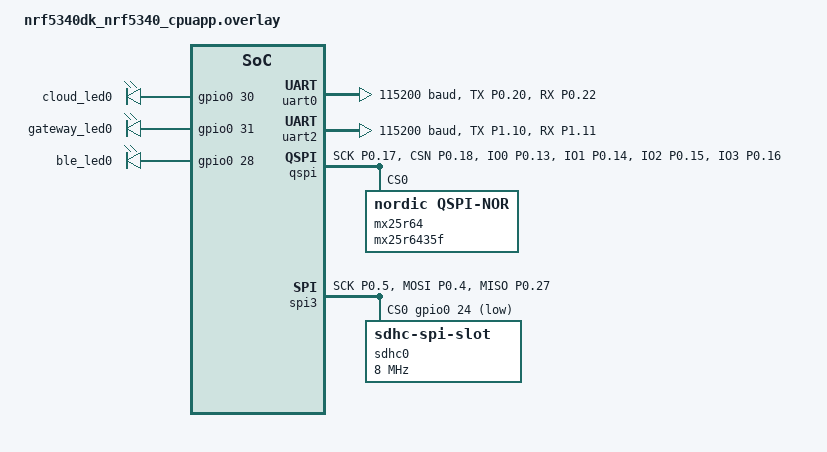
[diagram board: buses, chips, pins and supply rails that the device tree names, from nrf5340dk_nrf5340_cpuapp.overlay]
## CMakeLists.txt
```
# SPDX-License-Identifier: Apache-2.0

cmake_minimum_required(VERSION 3.20.0)

find_package(Zephyr REQUIRED HINTS $ENV{ZEPHYR_BASE})
project(nRF_AT_gateway_final)

target_sources(app PRIVATE src/main.c)
target_sources(app PRIVATE src/atcommand.c )
target_sources(app PRIVATE src/observer.c)
target_sources(app PRIVATE src/certs.c)
target_sources(app PRIVATE src/sdcard.c)
```

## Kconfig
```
menu "BASE_FILE"
config BLE_ADD
    string "BLE address"
    default "DE:AD:BE:AF:BA:64"

config BLE_RECEIVING_PAYLOAD_SIZE
	int "BLE Receiving payload Size"
	default 256

config CLOUD_UPLOAD_PAYLOAD_SIZE
	int "Cloud Upload payload Size"
	default 1280

config UPLOAD_INTERVAL
	int "Cloud Upload interval in seconds"
	default 10

config GATEWAY_ID
	int "Device Local ID"
	default 100

config MAX_FLASH_SIZE
	int "Maximum Flash Size in bytes"
	default 16777216	

config FLASH_SECTOR_SIZE
	int "Flash Sector Size in bytes"
	default 4096

config FLASH_WRITE_ADD
	int "This Address stores last write_index, it is static address and should not be changed"
	default 4096

config FLASH_READ_ADD
	int "This Address stores last read_index, it is static address and should not be changed"
	default 4104

config FLASH_DATA_START_ADD
	int "Starting address in the flash for data storage, it is static address and should not be changed"
	default 8192

config AWS_IOT_SAMPLE_JSON_MESSAGE_SIZE_MAX
	int "stores max json message length"
	default 8192

config AWS_IOT_BROKER_HOST_NAME_APP
	bool "AWS IoT sever hostname provided by application run-time"

config AWS_IOT_BROKER_HOST_NAME
	string "AWS IoT server hostname"
	depends on !AWS_IOT_BROKER_HOST_NAME_APP
endmenu

menu "Zephyr Kernel"
source "Kconfig.zephyr"
endmenu
```

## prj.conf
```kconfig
# --- UART & System Support ---
CONFIG_LOG=y
CONFIG_GPIO=y
CONFIG_UART_ASYNC_API=y
CONFIG_UART_INTERRUPT_DRIVEN=y
CONFIG_JSON_LIBRARY=y
CONFIG_CBPRINTF_FP_SUPPORT=y
CONFIG_LOG_PRINTK=y
CONFIG_PRINTK=y
CONFIG_SYSTEM_WORKQUEUE_STACK_SIZE=8192
CONFIG_MULTITHREADING=y 
CONFIG_FLASH=y

# --- Gateway & Payload Configurations (Synced with Kconfig) ---
CONFIG_GATEWAY_ID=20
CONFIG_BLE_RECEIVING_PAYLOAD_SIZE=256
CONFIG_CLOUD_UPLOAD_PAYLOAD_SIZE=1024 
CONFIG_UPLOAD_INTERVAL=10
CONFIG_BLE_ADD="CE:BD:BE:AF:BA:11"
CONFIG_AWS_IOT_SAMPLE_JSON_MESSAGE_SIZE_MAX=4096
CONFIG_AWS_IOT_BROKER_HOST_NAME="a1tgjydixa0qkm-ats.iot.us-east-1.amazonaws.com"

# --- Heap & Stacks ---
CONFIG_HEAP_MEM_POOL_SIZE=16384
CONFIG_MAIN_STACK_SIZE=32768

# --- Bluetooth Controller & Long Range (Coded PHY) ---
CONFIG_BT=y
CONFIG_BT_OBSERVER=y
CONFIG_BT_FILTER_ACCEPT_LIST=y
CONFIG_BT_EXT_ADV=y
CONFIG_BT_CTLR_ADV_EXT=y
CONFIG_BT_CTLR_PHY_CODED=y

# --- Bluetooth Scanning Buffers ---
CONFIG_BT_BUF_EVT_RX_COUNT=20
CONFIG_BT_PER_ADV_SYNC=y
CONFIG_BT_PER_ADV_SYNC_BUF_SIZE=256
CONFIG_BT_PER_ADV_SYNC_MAX=4
CONFIG_BT_EXT_SCAN_BUF_SIZE=1650
CONFIG_BT_CTLR_SCAN_DATA_LEN_MAX=1650

# --- C Library & File System ---
CONFIG_NEWLIB_LIBC=y
CONFIG_DISK_ACCESS=y
CONFIG_FILE_SYSTEM=y
CONFIG_FAT_FILESYSTEM_ELM=y

# Automatically format the SD card if it gets corrupted or is blank
CONFIG_FS_FATFS_MOUNT_MKFS=y

# Enable support for SD cards larger than 32GB (exFAT)
CONFIG_FS_FATFS_EXFAT=y

# --- SD Card Hardware Logic ---
CONFIG_SPI=y
CONFIG_SDHC=y
CONFIG_MMC_STACK=y
```

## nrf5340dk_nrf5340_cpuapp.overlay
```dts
/* ==========================================================================
 * 1. ALIASES & GPIO LEDS
 * ========================================================================== */

/ {
    /* Map hardware nodes to simple names for use in C code (DT_ALIAS) */
    aliases {
        cloudled   = &cloud_led0;
        gatewayled = &gateway_led0;
        bleled     = &ble_led0;

        /* REQUIRED FOR C CODE TO COMPILE: */
        spi-flash0 = &mx25r64;
        led0       = &cloud_led0;
        led1       = &gateway_led0;
        led2       = &ble_led0;
    };

    /* Define standalone GPIO pins used for indicator LEDs */
    leds {
        compatible = "gpio-leds";

        cloud_led0: led_0 {
            gpios = <&gpio0 30 GPIO_ACTIVE_HIGH>;
        };
        gateway_led0: led_1 {
            gpios = <&gpio0 31 GPIO_ACTIVE_HIGH>;
        };
        ble_led0: led_2 {
            gpios = <&gpio0 28 GPIO_ACTIVE_HIGH>;
        };
    };


};
/* ==========================================================================
 * 2. HARDWARE SUBSYSTEMS
 * ========================================================================== */

/* UART0 - Console Output */
&uart0 {
    status = "okay";
    current-speed = <115200>;
    pinctrl-0 = <&uart0_default>;
    pinctrl-1 = <&uart0_sleep>;
    pinctrl-names = "default", "sleep";
};

/* UART2 - EC200U Modem AT Commands */
&uart2 {
    status = "okay";
    current-speed = <115200>;
    pinctrl-0 = <&uart2_default>;
    pinctrl-1 = <&uart2_sleep>;
    pinctrl-names = "default", "sleep";
};

/* QSPI - MX25R6435F External Flash (U2) */
&qspi {
    status = "okay";
    pinctrl-0 = <&qspi_default>;
    pinctrl-1 = <&qspi_sleep>;
    pinctrl-names = "default", "sleep";

    mx25r64: mx25r6435f@0 {
        compatible = "nordic,qspi-nor";
        reg = <0>;
        writeoc = "pp4io";
        readoc = "read4io";
        sck-frequency = <8000000>;
        jedec-id = [c2 28 17];
        size = <67108864>; /* 64 Mbit */
    };
};

/* SPI3 - MicroSD Card (J15) */
&spi3 {
    status = "okay";
    pinctrl-0 = <&spi3_default>;
    pinctrl-1 = <&spi3_sleep>;
    pinctrl-names = "default", "sleep";

    cs-gpios = <&gpio0 24 GPIO_ACTIVE_LOW>;

    sdhc0: sdhc@0 {
        compatible = "zephyr,sdhc-spi-slot";
        reg = <0>;
        status = "okay";
        spi-max-frequency = <8000000>;

        mmc {
            compatible = "zephyr,sdmmc-disk";
            disk-name = "SD";
            status = "okay";
        };
    };
};

/* ==========================================================================
 * 3. PIN CONTROL DEFINITIONS (PINMUX)
 * ========================================================================== */

&pinctrl {

    /* --- UART0 (Console) --- */
    uart0_default: uart0_default {
        group1 {
            psels = <NRF_PSEL(UART_TX, 0, 20)>,
                    <NRF_PSEL(UART_RX, 0, 22)>;
        };
    };
    uart0_sleep: uart0_sleep {
        group1 {
            psels = <NRF_PSEL(UART_TX, 0, 20)>,
                    <NRF_PSEL(UART_RX, 0, 22)>;
            low-power-enable;
        };
    };

    /* --- UART2 (Modem) --- */
    uart2_default: uart2_default {
        group1 {
            psels = <NRF_PSEL(UART_TX, 1, 10)>,
                    <NRF_PSEL(UART_RX, 1, 11)>;
        };
    };
    uart2_sleep: uart2_sleep {
        group1 {
            psels = <NRF_PSEL(UART_TX, 1, 10)>,
                    <NRF_PSEL(UART_RX, 1, 11)>;
            low-power-enable;
        };
    };

    /* --- QSPI (MX25R6435F) --- */
    qspi_default: qspi_default {
        group1 {
            psels = <NRF_PSEL(QSPI_SCK, 0, 17)>,
                    <NRF_PSEL(QSPI_CSN, 0, 18)>,
                    <NRF_PSEL(QSPI_IO0, 0, 13)>,
                    <NRF_PSEL(QSPI_IO1, 0, 14)>,
                    <NRF_PSEL(QSPI_IO2, 0, 15)>,
                    <NRF_PSEL(QSPI_IO3, 0, 16)>;
        };
    };
    qspi_sleep: qspi_sleep {
        group1 {
            psels = <NRF_PSEL(QSPI_SCK, 0, 17)>,
                    <NRF_PSEL(QSPI_CSN, 0, 18)>,
                    <NRF_PSEL(QSPI_IO0, 0, 13)>,
                    <NRF_PSEL(QSPI_IO1, 0, 14)>,
                    <NRF_PSEL(QSPI_IO2, 0, 15)>,
                    <NRF_PSEL(QSPI_IO3, 0, 16)>;
            low-power-enable;
        };
    };

    /* --- SPI3 (SD Card) --- */
    spi3_default: spi3_default {
        group1 {
            psels = <NRF_PSEL(SPIM_SCK, 0, 5)>,
                    <NRF_PSEL(SPIM_MOSI, 0, 4)>,
                    <NRF_PSEL(SPIM_MISO, 0, 27)>;
        };
    };
    spi3_sleep: spi3_sleep {
        group1 {
            psels = <NRF_PSEL(SPIM_SCK, 0, 5)>,
                    <NRF_PSEL(SPIM_MOSI, 0, 4)>,
                    <NRF_PSEL(SPIM_MISO, 0, 27)>;
            low-power-enable;
        };
    };

};
```

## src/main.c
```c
/* --- SYSTEM INCLUDES & CONFIGURATION --- */
#include <zephyr/kernel.h>
#include <zephyr/sys/printk.h>
#include <string.h>
#include <stdint.h>
#include <zephyr/logging/log.h>
#include <zephyr/device.h>
#include <zephyr/drivers/uart.h>
#include <stdio.h>
#include <zephyr/drivers/gpio.h>
#include <zephyr/drivers/flash.h>
#include <zephyr/data/json.h>
#include "sdcard.h"
#include <stdlib.h>
#include "observer.h"
#include "atcommand.h"

LOG_MODULE_REGISTER(main, LOG_LEVEL_DBG);

/* Define the size of one Bluetooth packet and Flash sector sizes */
#define NODE_PACKET_SIZE CONFIG_BLE_RECEIVING_PAYLOAD_SIZE
#define SPI_FLASH_SECTOR_SIZE 4096

/* MQTT and AWS Configuration */
#define AWS_TOPIC "gateway_data/20"
#define PUBLISH_INTERVAL_MS 1000

/* --- GLOBAL VARIABLES & STATE --- */
/* Memory pointers for circular Flash storage */
int readIndex = 0x102000;
int writeIndex = 0x102000;
int flashLimit = 0x800000;

bool memFilled = false;
bool Upload_Status = true;
struct k_mutex test_mutex;
int Total_Node = 0;


/* --- MQTT PUBLISHING ROUTINE --- */

/* 
 * Packages the formatted JSON string and sends it to the modem.
 * If the upload fails, it "rewinds" the flash read pointer so the data 
 * isn't lost and will be retried on the next loop.
 */
int mqtt_upload(char *line)
{
    char payload[CONFIG_AWS_IOT_SAMPLE_JSON_MESSAGE_SIZE_MAX];
    
    /* Safely copy the JSON string into our payload buffer */
    snprintf(payload, sizeof(payload), "%s", line);
    if (payload[0] == '\0')
    {
        printk("Failed to build payload\n");
        return -1;
    }

    printk("Sending JSON payload (%d bytes)...\n", strlen(payload));
    
    /* Send to the GSM modem driver (QoS 1, 5-second timeout) */
    int status = gsm_mqtt_publish(AWS_TOPIC, payload, strlen(payload), 1, 5000);

    if (status == 0)
    {
        printk("Published successfully|\n");
    }
    else
    {
        /* Upload failed - Roll back the read index so we don't lose this data */
        Upload_Status = false;
        printk("Publish failed..\n");

        k_mutex_lock(&test_mutex, K_FOREVER);
        readIndex -= Total_Node * NODE_PACKET_SIZE;
        
        /* Prevent the index from rewinding past the start of our memory boundary */
        if (readIndex < 0x102000) {
            readIndex = 0x102000;
        }
        k_mutex_unlock(&test_mutex);
    }
    
    /* Brief pause between publishes to prevent flooding the network */
    k_sleep(K_MSEC(PUBLISH_INTERVAL_MS));
    return status;
}


/* --- MAIN APPLICATION LOOP --- */

int main(void)
{
    int rc;
    int temp_read_index, temp_write_index;
    const struct device *flash_dev;
    int len = sizeof(int);

    k_mutex_init(&test_mutex);

    /* 1. Initialize the SPI Flash memory chip */
    flash_dev = DEVICE_DT_GET(DT_ALIAS(spi_flash0));
    if (!device_is_ready(flash_dev))
    {
        printk("%s: flash device not ready.\n", flash_dev->name);
        return 0;
    }

    /* 2. Recover previous state: Load the last Read Index from memory */
    rc = flash_read(flash_dev, CONFIG_FLASH_READ_ADD, &temp_read_index, len);
    if (rc == 0)
    {
        printk("Successfully read Read_index : %d\n", temp_read_index);
        
        /* Validate that the saved index is within our safe memory boundaries */
        if (temp_read_index > 0x102000 && temp_read_index < flashLimit)
        {
            readIndex = temp_read_index;
        }
        else
        {
            printk("It does not have stored read memory\n");
        }
    }
    else
    {
        printk("Failed to read Read_index\n");
    }
    
    /* 3. Recover previous state: Load the last Write Index from memory */
    rc = flash_read(flash_dev, CONFIG_FLASH_WRITE_ADD, &temp_write_index, len);
    if (rc == 0)
    {
        printk("Successfully read write_index : %d\n", temp_write_index);
        if (temp_write_index > 0x102000 && temp_write_index < flashLimit)
        {
            writeIndex = temp_write_index;
        }
        else
        {
            printk("It does not have stored write memory\n");
        }
    }
    else
    {
        printk("Failed to read write_index\n");
    }
    
    /* If memory indices are corrupted or backwards, reset them to the beginning */
    if (writeIndex < readIndex)
    {
        readIndex = 0x102000;
        writeIndex = 0x102000;
        printk("Read & write resets\n");
    }

    printf("Board Name: %s\n", CONFIG_BOARD);
    
    /* 4. Boot up peripheral subsystems */
    init_gsm();            /* Turn on UART and power up modem */
    observer_start();      /* Start listening for Bluetooth packets */
    
    /* 5. Connect to the cellular network and AWS */
    rc = gsm_network_connect();
    if (rc != 0)
    {
        LOG_ERR("GSM network connect failed (%d)", rc);
        k_sleep(K_SECONDS(10));
        return 0;
    }

    int64_t now_time = k_uptime_get() / 1000;
    printk("System Uptime: %lld seconds\n", now_time);

    /* 6. Main Infinite Processing Loop */
    while (1)
    {
        uint8_t buf[CONFIG_CLOUD_UPLOAD_PAYLOAD_SIZE] = {0};

        /* Wait here until the Bluetooth thread signals that new data has arrived */
        int sem_result = k_sem_take(&data_ready_sem, K_MSEC(1000));

        /* Wait an extra 500ms so we can batch multiple packets together */
        if (sem_result == 0) {
            k_msleep(500);
        }

        /* Safely grab the current memory positions */
        k_mutex_lock(&test_mutex, K_FOREVER);
        int cur_write = writeIndex;
        int cur_read = readIndex;
        bool cur_filled = memFilled;
        k_mutex_unlock(&test_mutex);

        /* 
         * Check if it's time to upload: 
         * Do we have enough data? Is memory full? Has the upload timer expired? 
         */
        if (((cur_write - cur_read) >= CONFIG_CLOUD_UPLOAD_PAYLOAD_SIZE) || cur_filled ||
            k_uptime_get() / 1000 - now_time >= CONFIG_UPLOAD_INTERVAL)
        {
            now_time = k_uptime_get() / 1000;

            k_mutex_lock(&test_mutex, K_FOREVER);
            
            /* Wrap the read index back to the start if we hit the limit */
            if (readIndex >= flashLimit)
            {
                readIndex = 0x102000;
                memFilled = false;
            }
            int local_read_index = readIndex;

            /* Calculate exactly how many packets we need to read from Flash */
            int new_entries = 0;
            int diff = cur_write - local_read_index;
            if (diff > 0 && diff < CONFIG_CLOUD_UPLOAD_PAYLOAD_SIZE)
            {
                new_entries = diff / NODE_PACKET_SIZE;
            }
            else if (diff >= CONFIG_CLOUD_UPLOAD_PAYLOAD_SIZE)
            {
                new_entries = CONFIG_CLOUD_UPLOAD_PAYLOAD_SIZE / NODE_PACKET_SIZE;
            }
            Total_Node = new_entries;
            k_mutex_unlock(&test_mutex);

            /* Read the raw binary data block from Flash memory */
            int rc2 = flash_read(flash_dev, local_read_index, buf, Total_Node * NODE_PACKET_SIZE);
            if (rc2 != 0)
            {
                printf("Flash read failed! %d\n", rc2);
            }

            /* --- Convert Binary Data to JSON --- */
            char msg[CONFIG_AWS_IOT_SAMPLE_JSON_MESSAGE_SIZE_MAX] = {0};
            int pos = 0;

            /* Start the JSON structure */
            pos += snprintk(&msg[pos], sizeof(msg) - pos, "{\"counter\": [");

            int total_bytes = Total_Node * NODE_PACKET_SIZE;

            /* Loop through every byte and append it as a number in the JSON array */
            for (int i = 0; i < total_bytes; i++)
            {
                pos += snprintk(&msg[pos], sizeof(msg) - pos, "%d%s",
                                buf[i],
                                (i < total_bytes - 1) ? "," : "");
            }

            /* Close the JSON structure */
            pos += snprintk(&msg[pos], sizeof(msg) - pos, "]}");

            /* If we actually read data, save and transmit it */
            if (Total_Node > 0)
            {
                sim_status_checking();

                /* Advance the read pointer assuming success (we will roll it back if it fails) */
                k_mutex_lock(&test_mutex, K_FOREVER);
                readIndex += Total_Node * NODE_PACKET_SIZE;
                k_mutex_unlock(&test_mutex);

                /* Save a backup copy of the JSON payload to the SD Card */
                int sd_rc = sdcard_save_json(msg, pos);
                if (sd_rc != 0)
                {
                    LOG_WRN("SD card save failed (%d), continuing without it", sd_rc);
                }

                /* Publish the payload to AWS over Cellular */
                mqtt_upload(msg);
            }
        }
    }

    return 0;
}
```

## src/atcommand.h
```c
#ifndef __ATCOMMAND_H__
#define __ATCOMMAND_H__

#include <stdint.h>
#include <stddef.h>

void init_gsm(void);
int gsm_network_connect(void);
int gsm_mqtt_publish(const char *topic,const char *payload,size_t payload_len,int qos,int timeout_ms);
int gsm_mqtt_subscribe(const char *topic, int timeout_ms);
int gsm_mqtt_check_messages(char *topic_out, size_t topic_len,
                            char *payload_out, size_t payload_len,
                            int timeout_ms);
void gsm_get_datetime(char *datetime_out, size_t len);
int gsm_time_fetch(uint8_t arr[10]);

uint32_t datetime_to_epoch(const char *dt_str);
void sim_status_checking();

void mqtt_rx_drain_locked(void);

#endif
```

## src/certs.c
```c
#include "certs.h"

const uint8_t cacert_pem[] =
"-----BEGIN CERTIFICATE-----\n"
"MIIDQTCCAimgAwIBAgITBmyfz5m/jAo54vB4ikPmljZbyjANBgkqhkiG9w0BAQsF\n"
"ADA5MQswCQYDVQQGEwJVUzEPMA0GA1UEChMGQW1hem9uMRkwFwYDVQQDExBBbWF6\n"
"b24gUm9vdCBDQSAxMB4XDTE1MDUyNjAwMDAwMFoXDTM4MDExNzAwMDAwMFowOTEL\n"
"MAkGA1UEBhMCVVMxDzANBgNVBAoTBkFtYXpvbjEZMBcGA1UEAxMQQW1hem9uIFJv\n"
"b3QgQ0EgMTCCASIwDQYJKoZIhvcNAQEBBQADggEPADCCAQoCggEBALJ4gHHKeNXj\n"
"ca9HgFB0fW7Y14h29Jlo91ghYPl0hAEvrAIthtOgQ3pOsqTQNroBvo3bSMgHFzZM\n"
"9O6II8c+6zf1tRn4SWiw3te5djgdYZ6k/oI2peVKVuRF4fn9tBb6dNqcmzU5L/qw\n"
"IFAGbHrQgLKm+a/sRxmPUDgH3KKHOVj4utWp+UhnMJbulHheb4mjUcAwhmahRWa6\n"
"VOujw5H5SNz/0egwLX0tdHA114gk957EWW67c4cX8jJGKLhD+rcdqsq08p8kDi1L\n"
"93FcXmn/6pUCyziKrlA4b9v7LWIbxcceVOF34GfID5yHI9Y/QCB/IIDEgEw+OyQm\n"
"jgSubJrIqg0CAwEAAaNCMEAwDwYDVR0TAQH/BAUwAwEB/zAOBgNVHQ8BAf8EBAMC\n"
"AYYwHQYDVR0OBBYEFIQYzIU07LwMlJQuCFmcx7IQTgoIMA0GCSqGSIb3DQEBCwUA\n"
"A4IBAQCY8jdaQZChGsV2USggNiMOruYou6r4lK5IpDB/G/wkjUu0yKGX9rbxenDI\n"
"U5PMCCjjmCXPI6T53iHTfIUJrU6adTrCC2qJeHZERxhlbI1Bjjt/msv0tadQ1wUs\n"
"N+gDS63pYaACbvXy8MWy7Vu33PqUXHeeE6V/Uq2V8viTO96LXFvKWlJbYK8U90vv\n"
"o/ufQJVtMVT8QtPHRh8jrdkPSHCa2XV4cdFyQzR1bldZwgJcJmApzyMZFo6IQ6XU\n"
"5MsI+yMRQ+hDKXJioaldXgjUkK642M4UwtBV8ob2xJNDd2ZhwLnoQdeXeGADbkpy\n"
"rqXRfboQnoZsG4q5WTP468SQvvG5\n"
"-----END CERTIFICATE-----\n"
;
const size_t cacert_pem_len = sizeof(cacert_pem) - 1;

const uint8_t client_pem[] =
"-----BEGIN CERTIFICATE-----\n"
"MIIDWTCCAkGgAwIBAgIUalU1/Gekfx78V8Yh2nF42y+ZX/AwDQYJKoZIhvcNAQEL\n"
"BQAwTTFLMEkGA1UECwxCQW1hem9uIFdlYiBTZXJ2aWNlcyBPPUFtYXpvbi5jb20g\n"
"SW5jLiBMPVNlYXR0bGUgU1Q9V2FzaGluZ3RvbiBDPVVTMB4XDTI2MDcyODA1NDgx\n"
"MloXDTQ5MTIzMTIzNTk1OVowHjEcMBoGA1UEAwwTQVdTIElvVCBDZXJ0aWZpY2F0\n"
"ZTCCASIwDQYJKoZIhvcNAQEBBQADggEPADCCAQoCggEBALozqiGptkciSlIBdF3c\n"
"VCNM8+OQaScFn3JAsEia/43bHxwQkUd8CvrnLgYSLPx3NIJzSt7zLdv7aYBwKlHO\n"
"PJKcs/LrQcQmUq26tt7T3BiOxkaiAVtRt692ZjdCN03fvv9q/W+DmXA275FKueUx\n"
"ALau/AyyTJ3alVNzL20GTzRln5kI4tfvum1Q8lIjurrP0UvQKOOJK1bCPJrhIW6o\n"
"j5nx04B4v/jzUsZv7Hh+0ia5LmF1sNfxR4a2Vj3r7oFlYnmA//2Fz+9U5cW4kLRZ\n"
"4AVK+2S1yrY6IjtsXxJbnmfTcBv9CA24XDZMw2Kn5JolBt//hio8HKwb9T8ED1Kn\n"
"jrUCAwEAAaNgMF4wHwYDVR0jBBgwFoAUtBhBsxLOdTt0/LmRwiOGDNxnItAwHQYD\n"
"VR0OBBYEFNl5DBxVBJY/hrm0q0rjvx8PapsbMAwGA1UdEwEB/wQCMAAwDgYDVR0P\n"
"AQH/BAQDAgeAMA0GCSqGSIb3DQEBCwUAA4IBAQDQAs1oIoSazfM8fCDOEDcXS6PP\n"
"XKnQISRmx7GzNOKrYUoiqjw4ymdMmzFg0OsZ1P93h32ESZq5TB/JGMK++xolQCk5\n"
"ipT4W3HW4KgqHmYTVzbUoTzTv+dQ1V7iS9tydDfAo86pjOCEKA4u8xIcYyUa0C48\n"
"zFLKSu2y54o6WPbztbaLg3s46AHluE+jcQ5/QC+lYFLUmLm1ckPxPs+uveYnPiwc\n"
"L7wAaO/oNi95ccu4Vtb9uR2X2U7VzZflxHfLY4b4At0qmtAvhsQyr2A3IKgINAkZ\n"
"xN6t6xF0HkcAppWnG3LRuN+a/dAWtkCoy1/3BW435mBse8hVL+DHO5LYYgCx\n"
"-----END CERTIFICATE-----\n"
;
const size_t client_pem_len = sizeof(client_pem) - 1;

const uint8_t client_key_pem[] =
"-----BEGIN RSA PRIVATE KEY-----\n"
"MIIEpQIBAAKCAQEAujOqIam2RyJKUgF0XdxUI0zz45BpJwWfckCwSJr/jdsfHBCR\n"
"R3wK+ucuBhIs/Hc0gnNK3vMt2/tpgHAqUc48kpyz8utBxCZSrbq23tPcGI7GRqIB\n"
"W1G3r3ZmN0I3Td++/2r9b4OZcDbvkUq55TEAtq78DLJMndqVU3MvbQZPNGWfmQji\n"
"1++6bVDyUiO6us/RS9Ao44krVsI8muEhbqiPmfHTgHi/+PNSxm/seH7SJrkuYXWw\n"
"1/FHhrZWPevugWVieYD//YXP71TlxbiQtFngBUr7ZLXKtjoiO2xfElueZ9NwG/0I\n"
"DbhcNkzDYqfkmiUG3/+GKjwcrBv1PwQPUqeOtQIDAQABAoIBAQCd5ef06ezXv51U\n"
"k0UxvwBeewgqxrBU1fDTO0YCG+ZwTgvAidAY1XieMeKWZV1erluJ7+jizUbrT/S0\n"
"ZOmOO5ykG1yBt7wqcPEVv8sJhJEVBiXficwqu05P7dBaNb2ePQnDoN/Pa8J3JS7c\n"
"f4jKcVaQlCzLO3u7NLwCayAhjQMngz9lfMXNDk7VnXMQ3fCTunuGlH9ZEJQXerJf\n"
"zanEV6w3c4uJPVwLOReVL0IVIL8sIbJ5PQlB39o7g+BwfrqVHR4XjPb3EdFW3/ee\n"
"dGMCiv9sot+ofD3fqAYL3ZoB0Udz6aGFV4IDIuBWnS9Lc02U3sgs0NSi0qIw0gfV\n"
"/ZaI0S91AoGBAOHodawwj7YNB6i2+PK/Vm7DzyX41nkpVYILFfGEQGNbQMNtTl7j\n"
"9r8sB/g1cPxKnno3NMi299mfCJ80XuwqTbD83nJv1Upn/+yqjQ/m1G+wjyUXtQYr\n"
"tLzGrUl6h1zU5O58kbiPDtLNUPcCvoYMU13LjqbH3x8bVORyJRTAmrzPAoGBANMB\n"
"NYcG38tQArbrOeIr0WOFdzm3ZaO+0ABvBhA6cN37VpDVZ1DZ2pK3qqTqRXTFgYeF\n"
"LmjqI67nbxY1StQs+3ptoImelQiMruIEWGK5MqTLec/5fVm2/wixb+yVyFaS1tKp\n"
"vMN+lZ8EMrFt0MaUSODQe5umHgtMuMhloEdhUgU7AoGBAJ8BL1HzHDPXF/z4TGEP\n"
"q5Zq2/KuIsdFAJp3kwpbO7azE/J5jR/c9F+6biGV++CX5NPA57YeknTqKvdjtSwk\n"
"2mookamabVXhvZCmuoLmxb+XVimVdiTRvnTgojeFtqDwd/IkW6y7hIN7X/F8TP2s\n"
"z0DFdbKOG82ZPzdL4C2rIz6hAoGAagGYf76/XihTRMyGZw82gfZCgLeXk51AaIde\n"
"l3aUz6D+y4K7Bg581er6CyI7RMAZJBmPyFuhE7TnxVN+xXvX15kN5zXJj+MF1Tzz\n"
"np2GSO6EwyyHgjQCir6CCWzymjPpQyrNT7Xfu2Tjhuox0iIbPv7eqsLZIzonN15/\n"
"GH1XNJMCgYEAr1sPbLvWABXgWvh2Q3TtmM6EfEtgKvEEQyoz/CQESmcTK9Yaco79\n"
"vJN+IJTTKzJtRt5tXKC1bqZtzNYFHoIY4FxVsodpQuqobU/ag10OAbjXzM9qICUO\n"
"CHbknt1tfkS0vBMFT4hTXNN7dHth4hsGIgT4AdFvGX987P/Vfl1RIvE=\n"
"-----END RSA PRIVATE KEY-----\n"
;
const size_t client_key_pem_len = sizeof(client_key_pem) - 1;
```

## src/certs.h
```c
#ifndef CERTS_H
#define CERTS_H

#include <stdint.h>
#include <stddef.h>

extern const uint8_t cacert_pem[];
extern const size_t cacert_pem_len;

extern const uint8_t client_pem[];
extern const size_t client_pem_len;

extern const uint8_t client_key_pem[];
extern const size_t client_key_pem_len;

#endif /* CERTS_H */
```

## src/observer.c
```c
/* --- SYSTEM INCLUDES & CONFIGURATION --- */
#include <zephyr/kernel.h>
#include <zephyr/logging/log.h>
#include <zephyr/sys/printk.h>
#include <zephyr/drivers/gpio.h>
#include <zephyr/device.h>
#include <zephyr/drivers/flash.h>
#include <zephyr/bluetooth/bluetooth.h>
#include <zephyr/bluetooth/hci.h>
#include <stdio.h>
#include "observer.h"
#include "atcommand.h"

/* Shared memory lock */
extern struct k_mutex test_mutex;

#define STACKSIZE 32768
#define THREAD0_PRIORITY 7
#define SPI_FLASH_SECTOR_SIZE 4096

/* Flash tracking variables from main.c */
extern int flashLimit, writeIndex, readIndex;
extern bool memFilled;

/* BLE status LED */
static const struct gpio_dt_spec bleled = GPIO_DT_SPEC_GET(DT_ALIAS(bleled), gpios);


/* --- BLUETOOTH DATA STRUCTURES & QUEUES --- */

/* Structure to hold a single incoming Bluetooth packet */
struct ble_pkt
{
    uint8_t data[241];
    uint8_t len;
    /* RSSI removed */
};

/* 
 * A message queue to safely pass packets from the fast Bluetooth interrupt 
 * to the slower Flash Writer background thread. Holds up to 64 packets. 
 */
K_MSGQ_DEFINE(ble_msgq, sizeof(struct ble_pkt), 64, 4);
static atomic_t drop_counter;

/* Semaphore used to wake up the main.c loop when data is saved to Flash */
K_SEM_DEFINE(data_ready_sem, 0, 1);

#if defined(CONFIG_BT_EXT_ADV)

/* Buffers used to drop duplicate packets sent in the same burst */
static uint8_t last_packet_buffer[256] = {0};
static size_t last_packet_len = 0;


/* --- BLUETOOTH DATA PARSING & FILTERING --- */

/* 
 * Analyzes the raw Bluetooth payload. Extracts only our specific 
 * 241-byte manufacturer data and drops exact duplicates.
 */
static bool data_cb(struct bt_data *data, void *user_data)
{
    if (data->type != BT_DATA_MANUFACTURER_DATA) {
        return true; /* Not manufacturer data, keep looking */
    }

    if (data->data_len != 241) {
        return true; /* Not our 241-byte sensor packet, keep looking */
    }

    /* Single-node deduplication check: Did we just see this exact packet? */
    if (data->data_len == last_packet_len &&
        memcmp(data->data, last_packet_buffer, data->data_len) == 0)
    {
        /* Duplicate burst from our node. Drop silently. */
        return false;
    }

    /* New unique packet! Save it to the tracking buffer for future duplicate checks. */
    last_packet_len = MIN(data->data_len, sizeof(last_packet_buffer));
    memcpy(last_packet_buffer, data->data, last_packet_len);

    /* Copy the validated data into our packet structure */
    struct ble_pkt *pkt = (struct ble_pkt *)user_data;
    pkt->len = MIN(data->data_len, 241);
    memcpy(pkt->data, data->data, pkt->len);

    return false; /* We found what we need, stop parsing this broadcast */
}

/* Grabs the current network time from the GSM modem */
static void update_epoch_array(uint8_t *epochArr)
{
    (void)gsm_time_fetch(epochArr);
}


/* --- FLASH WRITING BACKGROUND THREAD --- */

/* 
 * This background task waits for valid Bluetooth packets to arrive in the queue.
 * When one arrives, it appends the current network time, handles memory limits, 
 * and writes the final combined block to the SPI Flash.
 */
void flash_writer_thread(void)
{
    struct ble_pkt pkt;
    uint8_t epochArr[10] = {0};
    uint8_t writeArray[CONFIG_BLE_RECEIVING_PAYLOAD_SIZE];
    
    const struct device *flash_dev;
    const size_t arrayLen = CONFIG_BLE_RECEIVING_PAYLOAD_SIZE;
    
    static int64_t last_log_time = 0;
    static int64_t last_epoch_update = 0;
    static uint32_t last_erased_sector = 0xFFFFFFFF;

    flash_dev = DEVICE_DT_GET(DT_ALIAS(spi_flash0));
    if (!device_is_ready(flash_dev))
    {
        printk("Flash device not ready\n");
        return;
    }

    /* Get initial time on startup */
    update_epoch_array(epochArr);

    while (1)
    {
        /* Print queue health stats every 5 seconds */
        if (k_uptime_get() - last_log_time > 5000)
        {
            printk("BLE stats: queue=%u drops=%ld writeIndex=0x%x readIndex=0x%x\n",
                   k_msgq_num_used_get(&ble_msgq),
                   atomic_get(&drop_counter),
                   writeIndex, readIndex);

            last_log_time = k_uptime_get();
        }

        /* Wait here forever until a packet arrives in the queue */
        if (k_msgq_get(&ble_msgq, &pkt, K_FOREVER) == 0)
        {     
            memset(writeArray, 0, sizeof(writeArray));

            /* Refresh the network time every 5 seconds */
            if (k_uptime_get() - last_epoch_update > 5000)
            {
                update_epoch_array(epochArr);
                last_epoch_update = k_uptime_get();
            }

            /* 1. Copy the 241-byte sensor data */
            size_t copy_len = MIN(pkt.len, 241);
            memcpy(writeArray, pkt.data, copy_len);

            /* 2. Pad unused bytes (241-245) */
            writeArray[241] = 0x00;
            writeArray[242] = 0x00;
            writeArray[243] = 0x00;
            writeArray[244] = 0x00;
            writeArray[245] = 0x00;

            /* 3. Append the 10-byte time array at the end (246-255) */
            for (size_t epochIdx = 0; epochIdx < 10; epochIdx++)
            {
                writeArray[246 + epochIdx] = (uint8_t)epochArr[epochIdx];
            }

            /* --- Lock Flash for Writing --- */
            k_mutex_lock(&test_mutex, K_FOREVER);

            /* Calculate where the next write will go to see if we wrap around */
            uint32_t next_write = (uint32_t)writeIndex + (uint32_t)CONFIG_BLE_RECEIVING_PAYLOAD_SIZE;
            bool will_wrap = (next_write >= (uint32_t)flashLimit);
            if (will_wrap) {
                next_write = 0x102000;
            }

            /* If flash is full, push the read pointer forward (dropping oldest data) */
            if (memFilled &&
                ((writeIndex < readIndex && (int)next_write >= readIndex) ||
                 (will_wrap && readIndex <= writeIndex)))
            {
                int old_read = readIndex;
                readIndex += CONFIG_BLE_RECEIVING_PAYLOAD_SIZE;
                if (readIndex >= flashLimit) {
                    readIndex = 0x102000;
                }
                printk("FIFO full: dropping oldest record at 0x%x -> new readIndex 0x%x\n",
                       old_read, readIndex);
            }

            /* Erase the 4KB flash sector if we just crossed into a new one */
            uint32_t current_sector = writeIndex / SPI_FLASH_SECTOR_SIZE;
            if (current_sector != last_erased_sector)
            {
                int ret = flash_erase(flash_dev, current_sector * SPI_FLASH_SECTOR_SIZE, SPI_FLASH_SECTOR_SIZE);
                if (ret == 0)
                {
                    printk("Erased flash sector starting at 0x%x\n", current_sector * SPI_FLASH_SECTOR_SIZE);
                }
                last_erased_sector = current_sector;
            }

            /* Write the final 256-byte chunk to memory */
            int rc = flash_write(flash_dev, writeIndex, writeArray, arrayLen);

            if (rc != 0)
            {
                printf("Flash write failed! %d\n", rc);
                k_mutex_unlock(&test_mutex);
                continue;
            }
            else
            {
                /* Success! Move write index forward */
                writeIndex = writeIndex + CONFIG_BLE_RECEIVING_PAYLOAD_SIZE;
            }

            /* Wrap write index if it hits the physical flash limit */
            if (writeIndex >= flashLimit)
            {
                writeIndex = 0x102000;
                memFilled = true;
            }

            /* --- Unlock Flash --- */
            k_mutex_unlock(&test_mutex);
            
            /* Wake up main.c so it knows new data is ready to be uploaded */
            k_sem_give(&data_ready_sem);
        }
    }
}


/* --- BLUETOOTH SCANNING CALLBACKS --- */

/* 
 * This is triggered by the hardware every time a packet is detected in the air. 
 * It toggles the LED, passes the data to the parser, and drops it into the queue.
 */
static void scan_recv(const struct bt_le_scan_recv_info *info, struct net_buf_simple *buf)
{
    /* Toggle BLE LED to show a packet was received */
    gpio_pin_toggle_dt(&bleled);

    struct ble_pkt pkt;
    memset(&pkt, 0, sizeof(pkt));

    /* Parse the payload using our data_cb filter */
    bt_data_parse(buf, data_cb, &pkt);

    /* If data_cb accepted it, put it in the queue for the flash writer thread */
    if (pkt.len > 0)
    {
        if (k_msgq_put(&ble_msgq, &pkt, K_NO_WAIT) != 0)
        {
            atomic_inc(&drop_counter); /* Track if the queue is full and dropping packets */
        }
    }
}

static struct bt_le_scan_cb scan_callbacks = {
    .recv = scan_recv,
};
#endif /* CONFIG_BT_EXT_ADV */


/* --- OBSERVER INITIALIZATION --- */

/* Starts the Bluetooth radio and configures it to only listen to our specific sensor */
int observer_start(void)
{
    printk("observer Started\n");

    /* Ensure BLE LED starts completely OFF */
    if (gpio_is_ready_dt(&bleled)) {
        gpio_pin_configure_dt(&bleled, GPIO_OUTPUT_INACTIVE);
    } else {
        printk("bleled GPIO not ready\n");
    }

    int err = bt_enable(NULL);
    if (err)
    {
        printk("Bluetooth init failed (err %d)\n", err);
        return err;
    }

    /* Set up Hardware Filter Accept List (Whitelist) */
    bt_addr_le_t addr1;
    bt_addr_le_from_str(CONFIG_BLE_ADD, "random", &addr1);

    err = bt_le_filter_accept_list_add(&addr1);
    if (err == 0)
    {
        printk("Successfully added the address to Filter Accept List..\n");
    }
    else
    {
        printk("Failed to update Filter Accept List..\n");
    }

    /* Configure Scanning: Passive, Coded PHY (Long Range), and Whitelist enabled */
    struct bt_le_scan_param scan_param = {
        .type       = BT_LE_SCAN_TYPE_PASSIVE,
        .options    = BT_LE_SCAN_OPT_CODED | BT_LE_SCAN_OPT_FILTER_ACCEPT_LIST, 
        .interval   = 0x00A0,
        .window     = 0x00A0,
    };

    /* Register our callback and start listening */
    bt_le_scan_cb_register(&scan_callbacks);
    err = bt_le_scan_start(&scan_param, NULL);

    if (err)
    {
        printk("Start scanning failed (err %d)\n", err);
        return err;
    }
    printk("Started scanning for single node %s...\n", CONFIG_BLE_ADD);
    return 0;
}

/* Start the background flash writer thread automatically */
K_THREAD_DEFINE(thread0_id, STACKSIZE, flash_writer_thread, NULL, NULL, NULL,
                THREAD0_PRIORITY, 0, 20000);
```

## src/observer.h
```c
#ifndef __OBSERVER_H__
#define __OBSERVER_H__

#include <zephyr/kernel.h>

int observer_start(void);

/* Given by flash_writer_thread() each time a new record is committed to
 * flash, so main() can publish it immediately instead of only polling. */
extern struct k_sem data_ready_sem;

#endif
```

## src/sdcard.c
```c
/* --- SYSTEM INCLUDES & CONFIGURATION --- */
#include <zephyr/kernel.h>
#include <zephyr/storage/disk_access.h>
#include <zephyr/fs/fs.h>
#include <ff.h> /* FatFS library */
#include <zephyr/logging/log.h>
#include <zephyr/drivers/rtc.h>
#include <stdio.h>
#include <string.h>
#include "sdcard.h"

LOG_MODULE_REGISTER(sdcard, LOG_LEVEL_INF);

/* Defines the internal name Zephyr uses for the SD slot, and the root folder path */
#define DISK_DRIVE_NAME "SD" 
#define MOUNT_POINT "/SD:"


/* --- GLOBAL VARIABLES & FILE SYSTEM SETUP --- */

/* 
 * The FAT file system object and mount configuration. 
 * This tells Zephyr how to interact with the raw memory on the SD card.
 */
static FATFS fat_fs;
static struct fs_mount_t mp = {
    .type = FS_FATFS,
    .fs_data = &fat_fs,
    .mnt_point = MOUNT_POINT,
};

/* Keeps track of whether the card is already ready to use */
static bool mounted = false;


/* --- DISK INITIALIZATION & MOUNTING --- */

/* 
 * Checks if the SD card is already mounted. If not, it wakes up the SD hardware 
 * and mounts the FAT file system so we can read and write files. 
 */
static int ensure_mounted(void)
{
    /* If already mounted from a previous loop, just skip and return success */
    if (mounted)
        return 0;

    /* Initialize the physical SD Card hardware */
    int rc = disk_access_init(DISK_DRIVE_NAME);
    if (rc)
    {
        LOG_ERR("Disk init failed: %d", rc);
        return rc;
    }

    /* Mount the FAT file system onto the initialized hardware */
    rc = fs_mount(&mp);
    if (rc)
    {
        LOG_ERR("SD mount failed: %d", rc);
        return rc;
    }
    
    LOG_INF("Initializing SD disk...");
    LOG_INF("SD card mounted at %s", MOUNT_POINT);

    /* Mark as successfully mounted so we don't repeat this process */
    mounted = true;
    return 0;
}


/* --- FILE WRITE OPERATIONS --- */

/* 
 * Generates the specific file path where we want to save our data.
 * Currently hardcoded to save everything in one master "data.json" file.
 */
static void make_filename(char *buf, size_t buf_len)
{
    snprintf(buf, buf_len, "/SD:/data.json");
}

/* 
 * The main public function. Takes the formatted JSON string, ensures the 
 * SD card is ready, and appends the new data to the bottom of the file.
 */
int sdcard_save_json(const char *json, int len)
{
    /* Make sure we actually have data to write */
    if (!json || len <= 0)
    {
        LOG_WRN("sdcard_save_json: nothing to write");
        return -EINVAL;
    }

    /* Make sure the SD card is mounted and ready */
    int rc = ensure_mounted();
    if (rc)
        return rc;

    /* Get the target file path */
    char path[64];
    make_filename(path, sizeof(path));

    /* Prepare a file object */
    struct fs_file_t f;
    fs_file_t_init(&f);

    /* 
     * Open the file. 
     * FS_O_CREATE makes the file if it doesn't exist yet.
     * FS_O_APPEND ensures we add to the bottom instead of overwriting old data.
     */
    rc = fs_open(&f, path, FS_O_CREATE | FS_O_WRITE | FS_O_APPEND);
    if (rc)
    {
        LOG_ERR("Cannot open %s: %d", path, rc);
        return rc;
    }

    /* Write the actual JSON string into the file */
    ssize_t written = fs_write(&f, json, len);
    
    /* Append a newline so the file doesn't become one giant unreadable block of text */
    char newline = '\n';
    fs_write(&f, &newline, 1);

    /* Always close the file immediately to prevent corruption if power is lost */
    fs_close(&f);

    if (written < 0)
    {
        LOG_ERR("SD write failed: %d", (int)written);
        return (int)written;
    }

    LOG_INF("SD: saved %d bytes → %s", (int)written, path);
    return 0;
}
```

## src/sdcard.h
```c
#ifndef SDCARD_H
#define SDCARD_H

/**
 * Save a JSON string to the SD card.
 * Returns 0 on success, negative errno on failure.
 */
int sdcard_save_json(const char *json, int len);

#endif /* SDCARD_H */
```
